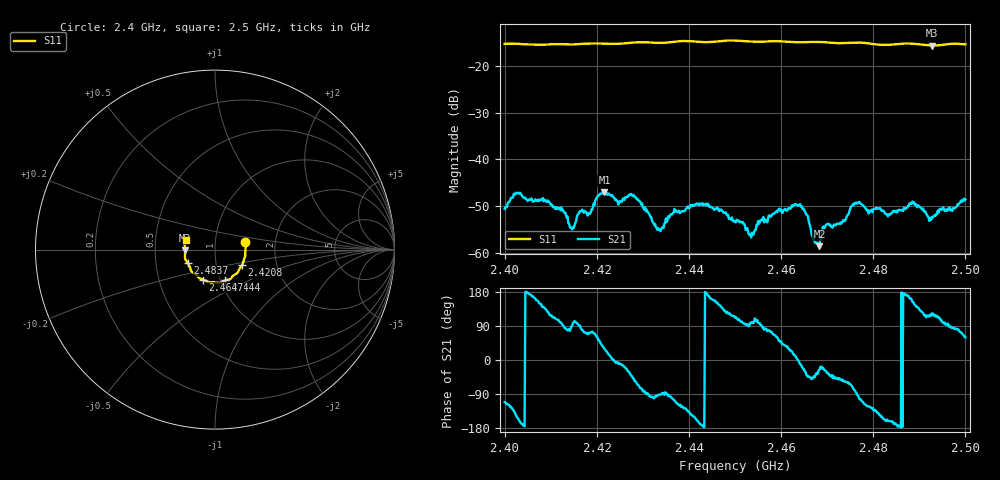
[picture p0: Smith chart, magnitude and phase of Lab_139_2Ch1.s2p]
# Hz S RI R 50
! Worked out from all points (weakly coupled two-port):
!   601 points, 2.4 GHz to 2.5 GHz, reference 50 ohm
!   highest |S21| = -47.03 dB at 2.4217 GHz (marker M1); lowest = -58.6 dB at 2.4683 GHz (marker M2)
!   lowest |S11| = -15.6 dB at 2.4928 GHz (marker M3), VSWR 1.40, Z = 35.8 - j0.358 ohm
!   |S11| at or under -10 dB: start of sweep to end of sweep
!   S12 and S22 are empty: the file has one direction only
!   S11 on the Smith chart (normalised r, x): 2.4 GHz: 1.40, +0.12; 2.4208 GHz: 1.33, -0.24; 2.444 GHz: 1.06, -0.37; 2.4647 GHz: 0.83, -0.29; 2.4837 GHz: 0.73, -0.11; 2.5 GHz: 0.72, +0.08
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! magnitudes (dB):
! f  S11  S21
! 2.4 GHz  -15.2  -50.6
! 2.4025 GHz  -15.2  -47.1
! 2.4088 GHz  -15.4  -48.8
! 2.4147 GHz  -15.4  -55.0
! 2.4167 GHz  -15.2  -51.0
! 2.4208 GHz  -15.2  -47.3
! 2.4217 GHz  -15.2  -47.0
! 2.428 GHz  -15.0  -47.6
! 2.4333 GHz  -15.0  -54.8
! 2.444 GHz  -14.9  -49.6
! 2.45 GHz  -14.5  -53.3
! 2.4535 GHz  -14.7  -56.7
! 2.4592 GHz  -14.7  -51.3
! 2.4647 GHz  -14.9  -50.7
! 2.4667 GHz  -14.8  -56.2
! 2.4683 GHz  -14.8  -58.6
! 2.4765 GHz  -15.0  -49.5
! 2.4833 GHz  -15.5  -51.9
! 2.4837 GHz  -15.4  -51.8
! 2.4883 GHz  -15.2  -49.5
! 2.4928 GHz  -15.6  -52.6
! 2.5 GHz  -15.4  -48.5
